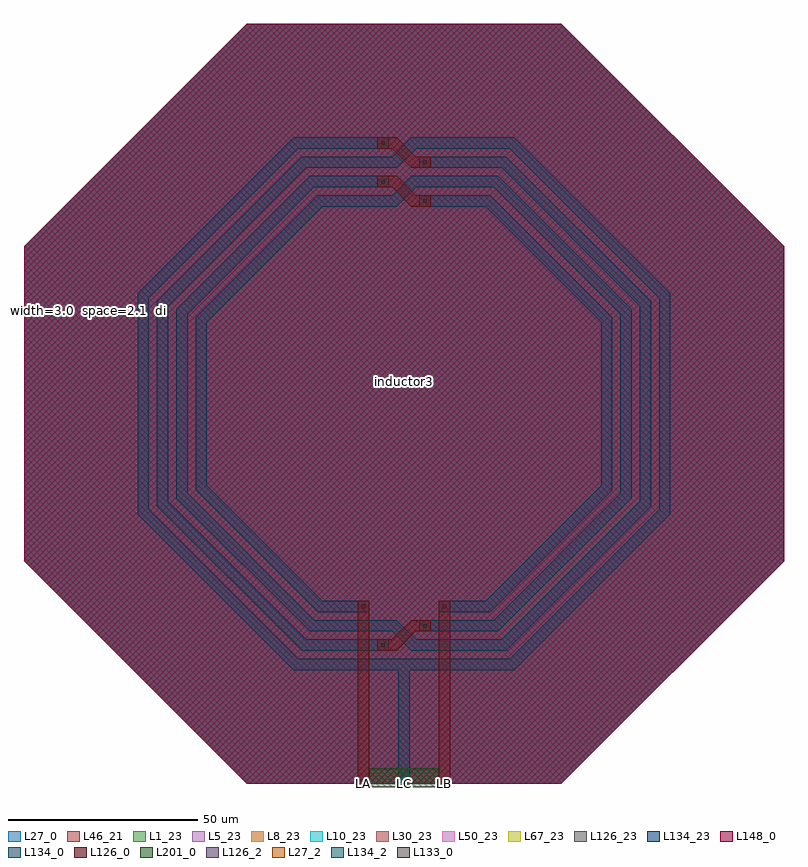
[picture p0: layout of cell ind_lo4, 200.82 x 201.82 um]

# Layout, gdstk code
import gdstk
lib = gdstk.Library(unit=1e-6, precision=1e-09)
def R(c, l, rs):  # rectangles x0, y0, x1, y1
    for r in rs: c.add(gdstk.rectangle(r[:2], r[2:], *l))
def A(c, l, x, y, w, h, nx, ny, dx, dy):  # array of equal rectangles
    R(c, l, [(x+i*dx, y+j*dy, x+i*dx+w, y+j*dy+h) for i in range(nx) for j in range(ny)])
def P(c, l, *ps):  # polygons
    for p in ps: c.add(gdstk.Polygon(p, *l))
L1_23 = (1, 23)
L5_23 = (5, 23)
L8_23 = (8, 23)
L10_23 = (10, 23)
L27_0 = (27, 0)
L27_2 = (27, 2)
L30_23 = (30, 23)
L46_21 = (46, 21)
L50_23 = (50, 23)
L67_23 = (67, 23)
L126_0 = (126, 0)
L126_2 = (126, 2)
L126_23 = (126, 23)
L133_0 = (133, 0)
L134_0 = (134, 0)
L134_2 = (134, 2)
L134_23 = (134, 23)
L148_0 = (148, 0)
L201_0 = (201, 0)

ind_lo4 = lib.new_cell('ind_lo4')
P(ind_lo4, L1_23, [(-41.59,0),(-100.41,58.82),(-100.41,142),(-41.59,200.82),(41.59,200.82),(100.41,142),(100.41,58.82),(41.59,0)])
P(ind_lo4, L5_23, [(-41.59,0),(-100.41,58.82),(-100.41,142),(-41.59,200.82),(41.59,200.82),(100.41,142),(100.41,58.82),(41.59,0)])
P(ind_lo4, L8_23, [(-41.59,0),(-100.41,58.82),(-100.41,142),(-41.59,200.82),(41.59,200.82),(100.41,142),(100.41,58.82),(41.59,0)])
P(ind_lo4, L10_23, [(-41.59,0),(-100.41,58.82),(-100.41,142),(-41.59,200.82),(41.59,200.82),(100.41,142),(100.41,58.82),(41.59,0)])
P(ind_lo4, L27_0, [(-41.59,0),(-100.41,58.82),(-100.41,142),(-41.59,200.82),(41.59,200.82),(100.41,142),(100.41,58.82),(41.59,0)])
A(ind_lo4, L27_2, -12.16, -1, 3, 2, 3, 1, 10.66, 0)
P(ind_lo4, L30_23, [(-41.59,0),(-100.41,58.82),(-100.41,142),(-41.59,200.82),(41.59,200.82),(100.41,142),(100.41,58.82),(41.59,0)])
P(ind_lo4, L46_21, [(-41.59,0),(-100.41,58.82),(-100.41,142),(-41.59,200.82),(41.59,200.82),(100.41,142),(100.41,58.82),(41.59,0)])
P(ind_lo4, L50_23, [(-41.59,0),(-100.41,58.82),(-100.41,142),(-41.59,200.82),(41.59,200.82),(100.41,142),(100.41,58.82),(41.59,0)])
P(ind_lo4, L67_23, [(-41.59,0),(-100.41,58.82),(-100.41,142),(-41.59,200.82),(41.59,200.82),(100.41,142),(100.41,58.82),(41.59,0)])
P(ind_lo4, L126_0, [(1.95,152.44),(-3.17,157.56),(-7.06,157.56),(-7.06,160.56),(-1.95,160.56),(3.17,155.44),(7.06,155.44),(7.06,152.44)],
  [(1.95,162.68),(-3.17,167.8),(-7.06,167.8),(-7.06,170.8),(-1.95,170.8),(3.17,165.68),(7.06,165.68),(7.06,162.68)],
  [(-7.06,35.1),(-7.06,38.1),(-3.18,38.1),(1.92,43.2),(7.07,43.2),(7.07,40.2),(3.17,40.2),(-1.93,35.1)])
R(ind_lo4, L126_2, [(-12.16,-1,-9.16,1), (-12.16,-1,-9.16,1), (9.16,-1,12.16,1), (9.16,-1,12.16,1)])
P(ind_lo4, L126_23, [(-41.59,0),(-100.41,58.82),(-100.41,142),(-41.59,200.82),(41.59,200.82),(100.41,142),(100.41,58.82),(41.59,0)])
R(ind_lo4, L133_0, [(-6.01,36.15,-5.11,37.05), (5.12,41.25,6.02,42.15), (-11.11,46.35,-10.21,47.25), (10.21,46.35,11.11,47.25), (5.11,153.49,6.01,154.39), (-6.01,158.59,-5.11,159.49), (5.11,163.73,6.01,164.63), (-6.01,168.83,-5.11,169.73)])
R(ind_lo4, L134_0, [(-4.06,30,4.06,33)])
P(ind_lo4, L134_0, [(9.16,45.3),(9.16,48.3),(21.565,48.3),(52.07,78.805),(52.07,121.935),(21.565,152.44),(4.06,152.44),(4.06,155.44),(22.815,155.44),(55.07,123.185),(55.07,77.555),(22.815,45.3)],
  [(-22.815,45.3),(-55.07,77.555),(-55.07,123.185),(-22.815,155.44),(-4.06,155.44),(-4.06,152.44),(-21.565,152.44),(-52.07,121.935),(-52.07,78.805),(-21.565,48.3),(-9.16,48.3),(-9.16,45.3)],
  [(-4.06,152.44),(-4.06,155.44),(-3.17,155.44),(1.95,160.56),(4.06,160.56),(4.06,157.56),(3.2,157.56),(-1.92,152.44)],
  [(4.06,40.2),(4.06,43.2),(23.68,43.2),(57.18,76.7),(57.18,124.06),(23.68,157.56),(4.06,157.56),(4.06,160.56),(24.93,160.56),(60.18,125.31),(60.18,75.45),(24.93,40.2)],
  [(-24.93,40.2),(-60.18,75.45),(-60.18,125.31),(-24.93,160.56),(-4.06,160.56),(-4.06,157.56),(-23.68,157.56),(-57.18,124.06),(-57.18,76.7),(-23.68,43.2),(-4.06,43.2),(-4.06,40.2)],
  [(4.06,35.1),(4.06,38.1),(25.8,38.1),(62.29,74.59),(62.29,126.19),(25.8,162.68),(4.06,162.68),(4.06,165.68),(27.05,165.68),(65.29,127.44),(65.29,73.34),(27.05,35.1)],
  [(-27.05,35.1),(-65.29,73.34),(-65.29,127.44),(-27.05,165.68),(-4.06,165.68),(-4.06,162.68),(-25.8,162.68),(-62.29,126.19),(-62.29,74.59),(-25.8,38.1),(-4.06,38.1),(-4.06,35.1)],
  [(-4.06,162.68),(-4.06,165.68),(-3.17,165.68),(1.95,170.8),(4.06,170.8),(4.06,167.8),(3.2,167.8),(-1.92,162.68)],
  [(1.93,35.1),(-3.17,40.2),(-4.06,40.2),(-4.06,43.2),(-1.92,43.2),(3.18,38.1),(4.06,38.1),(4.06,35.1)],
  [(4.06,30),(4.06,33),(27.915,33),(67.4,72.485),(67.4,128.315),(27.915,167.8),(4.06,167.8),(4.06,170.8),(29.165,170.8),(70.4,129.565),(70.4,71.235),(29.165,30)],
  [(-29.165,30),(-70.4,71.235),(-70.4,129.565),(-29.165,170.8),(-4.06,170.8),(-4.06,167.8),(-27.915,167.8),(-67.4,128.315),(-67.4,72.485),(-27.915,33),(-4.06,33),(-4.06,30)])
R(ind_lo4, L134_2, [(-1.5,-1,1.5,1), (-1.5,-1,1.5,1)])
P(ind_lo4, L134_23, [(-41.59,0),(-100.41,58.82),(-100.41,142),(-41.59,200.82),(41.59,200.82),(100.41,142),(100.41,58.82),(41.59,0)])
P(ind_lo4, L148_0, [(-41.59,0),(-100.41,58.82),(-100.41,142),(-41.59,200.82),(41.59,200.82),(100.41,142),(100.41,58.82),(41.59,0)])
R(ind_lo4, L201_0, [(-9.16,-1,9.16,4)])
ind_lo4.add(gdstk.FlexPath([(0,-1),(0,30)], 3, ends="flush", simple_path=True, layer=134, datatype=0))  # L134_0
ind_lo4.add(gdstk.FlexPath([(10.66,-1),(10.66,48.3)], 3, ends="flush", simple_path=True, layer=126, datatype=0))  # L126_0
ind_lo4.add(gdstk.FlexPath([(-10.66,-1),(-10.66,48.3)], 3, ends="flush", simple_path=True, layer=126, datatype=0))  # L126_0
ind_lo4.add(gdstk.Label('LC', (0,0), layer=27, texttype=25))
ind_lo4.add(gdstk.Label('LB', (10.66,0), layer=27, texttype=25))
ind_lo4.add(gdstk.Label('LA', (-10.66,0), layer=27, texttype=25))
ind_lo4.add(gdstk.Label('inductor3', (0,106.2), layer=63, texttype=0))
ind_lo4.add(gdstk.Label('  width=3.0\n  space=2.1\n  diameter=104.14\n  turns=4', (-100.41,125.02), layer=63, texttype=0))

lib.write_gds('ind_lo4.gds')
